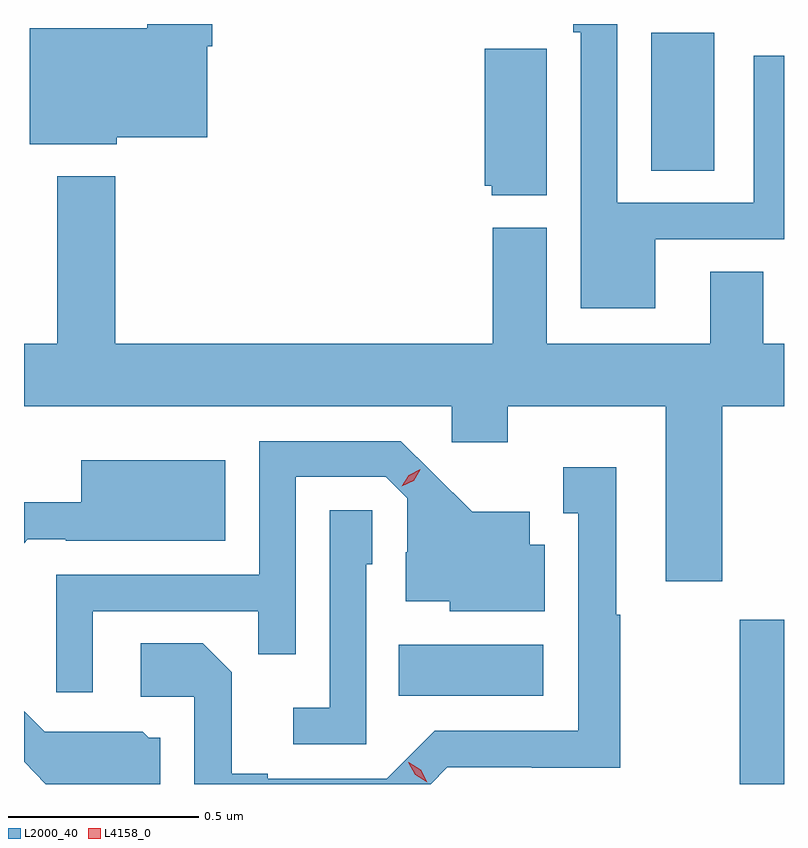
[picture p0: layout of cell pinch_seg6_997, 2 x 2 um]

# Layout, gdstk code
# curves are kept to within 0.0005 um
import gdstk
lib = gdstk.Library(unit=1e-6, precision=1e-09)
def R(c, l, rs):  # rectangles x0, y0, x1, y1
    for r in rs: c.add(gdstk.rectangle(r[:2], r[2:], *l))
def P(c, l, *ps):  # polygons
    for p in ps: c.add(gdstk.Polygon(p, *l))
L2000_40 = (2000, 40)
L4158_0 = (4158, 0)

pinch_seg6_997 = lib.new_cell('pinch_seg6_997')
R(pinch_seg6_997, L2000_40, [(362.486,939.682,362.602,940.114), (361.588,939.914,361.969,940.048), (362.252,941.296,362.419,941.659)])
P(pinch_seg6_997, L2000_40, [(362.263,941.115),(362.602,941.115),(362.602,941.599),(362.523,941.599),(362.523,941.211),(362.163,941.211),(362.163,941.682),(362.047,941.682),(362.047,941.66),(362.067,941.66),(362.067,940.934),(362.263,940.934)],
  [(360.846,941.384),(361.084,941.384),(361.084,941.624),(361.097,941.624),(361.097,941.682),(360.926,941.682),(360.926,941.671),(360.617,941.671),(360.617,941.366),(360.846,941.366)],
  [(361.978,941.617),(361.814,941.617),(361.814,941.256),(361.833,941.256),(361.833,941.231),(361.978,941.231)],
  [(362.439,940.676),(362.602,940.676),(362.602,940.84),(362.548,940.84),(362.548,941.03),(362.408,941.03),(362.408,940.84),(361.978,940.84),(361.978,941.146),(361.835,941.146),(361.835,940.84),(360.842,940.84),(360.842,941.281),(360.689,941.281),(360.689,940.84),(360.602,940.84),(360.602,940.676),(361.728,940.676),(361.728,940.581),(361.875,940.581),(361.875,940.676),(362.291,940.676),(362.291,940.215),(362.439,940.215)],
  [(360.783,940.137),(361.219,940.137),(361.219,940.024),(361.317,940.024),(361.317,940.491),(361.554,940.491),(361.611,940.434),(361.611,940.292),(361.607,940.292),(361.607,940.163),(361.722,940.163),(361.722,940.136),(361.972,940.136),(361.972,940.312),(361.933,940.312),(361.933,940.399),(361.781,940.399),(361.594,940.584),(361.221,940.584),(361.221,940.233),(360.687,940.233),(360.687,939.924),(360.783,939.924)],
  [(360.612,940.326),(360.712,940.326),(360.712,940.322),(361.132,940.322),(361.132,940.534),(360.752,940.534),(360.752,940.423),(360.602,940.423),(360.602,940.316)],
  [(361.716,939.726),(361.938,939.726),(361.938,939.725),(362.171,939.725),(362.171,940.127),(362.161,940.127),(362.161,940.516),(362.021,940.516),(362.021,940.395),(362.06,940.395),(362.06,939.822),(361.683,939.822),(361.557,939.696),(361.243,939.696),(361.243,939.709),(361.149,939.709),(361.149,939.976),(361.073,940.052),(360.909,940.052),(360.909,939.912),(361.05,939.912),(361.05,939.682),(361.672,939.682)],
  [(361.503,940.26),(361.518,940.26),(361.518,940.403),(361.407,940.403),(361.407,939.883),(361.311,939.883),(361.311,939.786),(361.503,939.786)],
  [(360.961,939.804),(360.93,939.804),(360.914,939.82),(360.78,939.82),(360.78,939.819),(360.657,939.819),(360.602,939.874),(360.602,939.74),(360.659,939.682),(360.961,939.682)])
P(pinch_seg6_997, L4158_0, [(361.663,939.687),(361.631,939.706),(361.613,939.739),(361.613,939.739),(361.614,939.739),(361.646,939.72),(361.663,939.687),(361.663,939.687)],
  [(361.596,940.466),(361.596,940.466),(361.614,940.495),(361.645,940.51),(361.645,940.51),(361.645,940.509),(361.627,940.48),(361.596,940.466)])

lib.write_gds('pinch_seg6_997.gds')
